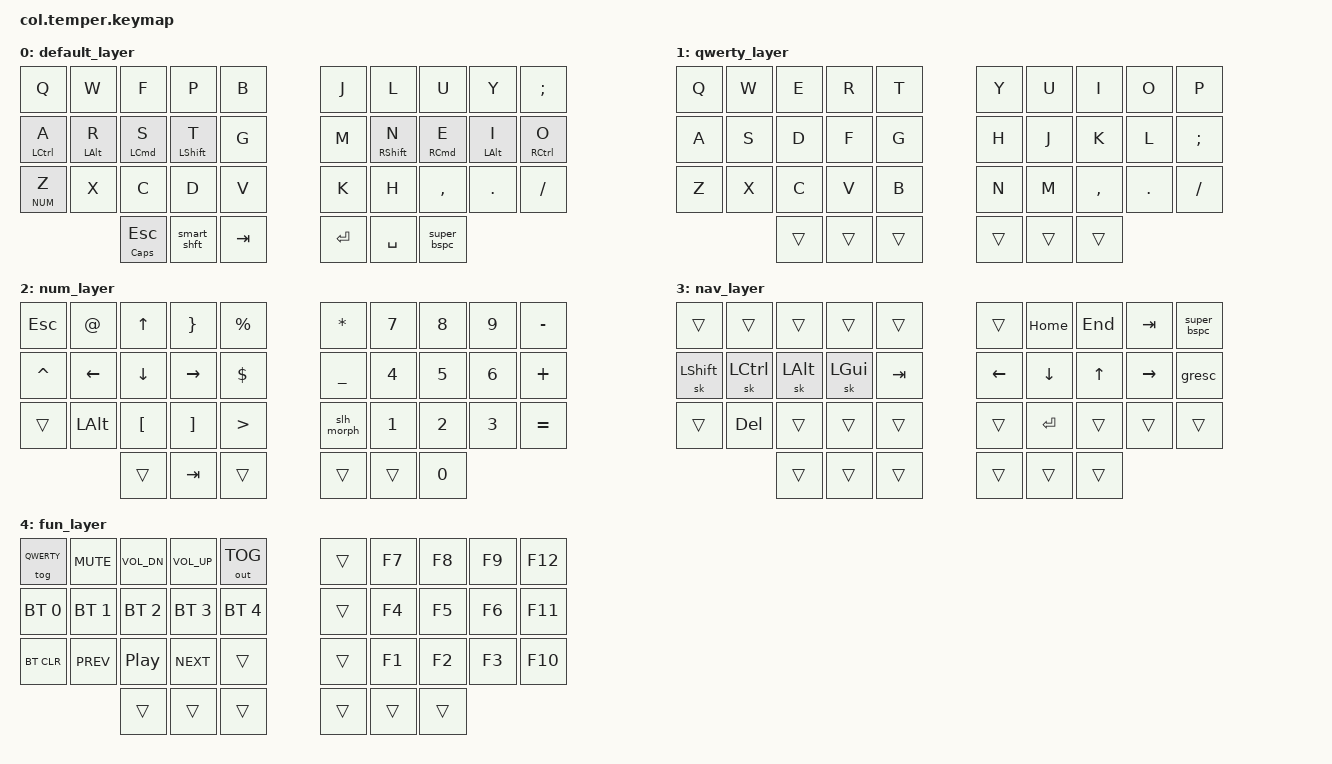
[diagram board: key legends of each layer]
/*
 * Copyright (c) 2020 The ZMK Contributors
 *
 * SPDX-License-Identifier: MIT
 */

#include <behaviors.dtsi>
#include <dt-bindings/zmk/keys.h>
#include <dt-bindings/zmk/bt.h>
#include <dt-bindings/zmk/outputs.h>

#define DEFAULT 0
#define QWERTY 1
#define NUM 2
#define NAV 3
#define FUN 4

/ {
    conditional_layers {
        compatible = "zmk,conditional-layers";
        tri_layer {
            if-layers = <NUM NAV>;
            then-layer = <FUN>;
        };
    };
    behaviors {
        bspc_del: backspace_delete {
            compatible = "zmk,behavior-mod-morph";
            #binding-cells = <0>;
            bindings = <&kp BACKSPACE>, <&kp DELETE>;
            mods = <(MOD_LSFT|MOD_RSFT)>;
            keep-mods = <(MOD_RSFT)>;
        };
        super_bspc: super_backspace {
            compatible = "zmk,behavior-mod-morph";
            #binding-cells = <0>;
            bindings = <&kp BACKSPACE>, <&kp LA(BACKSPACE)>;
            mods = <(MOD_LSFT|MOD_RSFT)>;
        };
        smart_shft: smart_shift {
            compatible = "zmk,behavior-mod-morph";
            #binding-cells = <0>;
            bindings = <&kp LSHFT>, <&caps_word>;
            mods = <(MOD_LSFT)>;
        };
        comma_semi: comma_semi {
            compatible = "zmk,behavior-mod-morph";
            #binding-cells = <0>;
            bindings = <&kp COMMA>, <&kp SEMI>;
            mods = <(MOD_LSFT)>;
        };
        bhm: balanced_homerow_mods {
            compatible = "zmk,behavior-hold-tap";
            #binding-cells = <2>;
            tapping-term-ms = <200>;    // <---[[moderate duration]]
            quick-tap-ms = <0>;
            flavor = "balanced";
            bindings = <&kp>, <&kp>;
        };
        dot_colon: dot_colon {
            compatible = "zmk,behavior-mod-morph";
            #binding-cells = <0>;
            bindings = <&kp DOT>, <&kp COLON>;
            mods = <(MOD_LSFT)>;
        };
        qmrk_excl: qmrk_excl {
            compatible = "zmk,behavior-mod-morph";
            #binding-cells = <0>;
            bindings = <&kp QMARK>, <&kp EXCL>;
            mods = <(MOD_LSFT)>;
        };
        slh_morph: slh_morph {
            compatible = "zmk,behavior-mod-morph";
            #binding-cells = <0>;
            bindings = <&kp FSLH>, <&kp BSLH>;
            mods = <(MOD_LSFT)>;
        };
        amps_morph: amps_morph {
            compatible = "zmk,behavior-mod-morph";
            #binding-cells = <0>;
            bindings = <&kp AMPS>, <&kp PIPE>;
            mods = <(MOD_LSFT)>;
        };
    };
        keymap {
                compatible = "zmk,keymap";

                default_layer {
                        bindings = <
// ╭─────────────┬─────────────┬─────────────┬─────────────┬─────────────╮   ╭─────────────┬─────────────┬─────────────┬─────────────┬─────────────╮
        &kp Q         &kp W         &kp F         &kp P         &kp B              &kp J        &kp L         &kp U         &kp Y         &kp SEMI   
// ├─────────────┼─────────────┼─────────────┼─────────────┼─────────────┤   ├─────────────┼─────────────┼─────────────┼─────────────┼─────────────┤
    &bhm LCTRL A   &bhm LALT R   &bhm LCMD S  &bhm LSHIFT T    &kp G              &kp M     &bhm RSHIFT N  &bhm RCMD E   &bhm LALT I  &bhm RCTRL O
// ├─────────────┼─────────────┼─────────────┼─────────────┼─────────────┤   ├─────────────┼─────────────┼─────────────┼─────────────┼─────────────┤
      &lt NUM Z        &kp X         &kp C         &kp D        &kp V             &kp K         &kp H      &kp COMMA      &kp DOT      &kp FSLH
// ╰─────────────┴─────────────┼─────────────┼─────────────┼─────────────┤   ├─────────────┼─────────────┼─────────────┼─────────────┴─────────────╯
                                &mt CAPS ESC   &smart_shft    &kp TAB           &kp RET      &kp SPACE     &super_bspc
//                             ╰─────────────┴─────────────┴─────────────╯   ╰─────────────┴─────────────┴─────────────╯
                        >;
                };
                qwerty_layer {
                        bindings = <
// ╭─────────────┬─────────────┬─────────────┬─────────────┬─────────────╮   ╭─────────────┬─────────────┬─────────────┬─────────────┬─────────────╮
        &kp Q         &kp W         &kp E         &kp R         &kp T              &kp Y        &kp U         &kp I         &kp O         &kp P   
// ├─────────────┼─────────────┼─────────────┼─────────────┼─────────────┤   ├─────────────┼─────────────┼─────────────┼─────────────┼─────────────┤
        &kp A         &kp S         &kp D         &kp F         &kp G              &kp H        &kp J         &kp K         &kp L       &kp SEMI
// ├─────────────┼─────────────┼─────────────┼─────────────┼─────────────┤   ├─────────────┼─────────────┼─────────────┼─────────────┼─────────────┤
        &kp Z         &kp X         &kp C         &kp V         &kp B              &kp N        &kp M       &kp COMMA      &kp DOT      &kp FSLH
// ╰─────────────┴─────────────┼─────────────┼─────────────┼─────────────┤   ├─────────────┼─────────────┼─────────────┼─────────────┴─────────────╯
                                    &trans        &trans        &trans             &trans       &trans        &trans
//                             ╰─────────────┴─────────────┴─────────────╯   ╰─────────────┴─────────────┴─────────────╯
                        >;
                };
                num_layer {
                        bindings = <
// ╭─────────────┬─────────────┬─────────────┬─────────────┬─────────────╮   ╭─────────────┬─────────────┬─────────────┬─────────────┬─────────────╮
      &kp ESC        &kp AT         &kp UP       &kp RBRC     &kp PRCNT          &kp STAR       &kp N7        &kp N8        &kp N9      &kp MINUS
// ├─────────────┼─────────────┼─────────────┼─────────────┼─────────────┤   ├─────────────┼─────────────┼─────────────┼─────────────┼─────────────┤
      &kp CARET      &kp LEFT      &kp DOWN      &kp RIGHT     &kp DLLR         &kp UNDER       &kp N4        &kp N5        &kp N6      &kp PLUS
// ├─────────────┼─────────────┼─────────────┼─────────────┼─────────────┤   ├─────────────┼─────────────┼─────────────┼─────────────┼─────────────┤
       &trans        &kp LALT      &kp LBKT      &kp RBKT       &kp GT          &slh_morph      &kp N1        &kp N2        &kp N3      &kp EQUAL
// ╰─────────────┴─────────────┼─────────────┼─────────────┼─────────────┤   ├─────────────┼─────────────┼─────────────┼─────────────┴─────────────╯
                                    &trans        &kp TAB      &trans            &trans        &trans        &kp N0
//                             ╰─────────────┴─────────────┴─────────────╯   ╰─────────────┴─────────────┴─────────────╯
                        >;
                };

                nav_layer {
                        bindings = <
// ╭─────────────┬─────────────┬─────────────┬─────────────┬─────────────╮   ╭─────────────┬─────────────┬─────────────┬─────────────┬─────────────╮
        &trans        &trans        &trans        &trans        &trans            &trans       &kp HOME      &kp END       &kp TAB     &super_bspc
// ├─────────────┼─────────────┼─────────────┼─────────────┼─────────────┤   ├─────────────┼─────────────┼─────────────┼─────────────┼─────────────┤
      &sk LSHFT     &sk LCTRL      &sk LALT      &sk LGUI      &kp TAB           &kp LEFT      &kp DOWN       &kp UP      &kp RIGHT       &gresc
// ├─────────────┼─────────────┼─────────────┼─────────────┼─────────────┤   ├─────────────┼─────────────┼─────────────┼─────────────┼─────────────┤
        &trans       &kp DEL        &trans        &trans        &trans            &trans        &kp RET       &trans        &trans        &trans
// ╰─────────────┴─────────────┼─────────────┼─────────────┼─────────────┤   ├─────────────┼─────────────┼─────────────┼─────────────┴─────────────╯
                                    &trans        &trans        &trans            &trans        &trans        &trans
//                             ╰─────────────┴─────────────┴─────────────╯   ╰─────────────┴─────────────┴─────────────╯
                        >;
                };

                fun_layer {
                        bindings = <
// ╭─────────────┬─────────────┬─────────────┬─────────────┬─────────────╮   ╭─────────────┬─────────────┬─────────────┬─────────────┬─────────────╮
     &tog QWERTY   &kp K_MUTE    &kp C_VOL_DN  &kp C_VOL_UP  &out OUT_TOG         &trans        &kp F7        &kp F8        &kp F9       &kp F12
// ├─────────────┼─────────────┼─────────────┼─────────────┼─────────────┤   ├─────────────┼─────────────┼─────────────┼─────────────┼─────────────┤
     &bt BT_SEL 0  &bt BT_SEL 1  &bt BT_SEL 2  &bt BT_SEL 3  &bt BT_SEL 4         &trans        &kp F4        &kp F5        &kp F6       &kp F11
// ├─────────────┼─────────────┼─────────────┼─────────────┼─────────────┤   ├─────────────┼─────────────┼─────────────┼─────────────┼─────────────┤
      &bt BT_CLR    &kp C_PREV     &kp C_PP     &kp C_NEXT      &trans            &trans        &kp F1        &kp F2        &kp F3       &kp F10
// ╰─────────────┴─────────────┼─────────────┼─────────────┼─────────────┤   ├─────────────┼─────────────┼─────────────┼─────────────┴─────────────╯
                                    &trans        &trans        &trans            &trans        &trans        &trans
//                             ╰─────────────┴─────────────┴─────────────╯   ╰─────────────┴─────────────┴─────────────╯
                        >;
                };
        };
};
